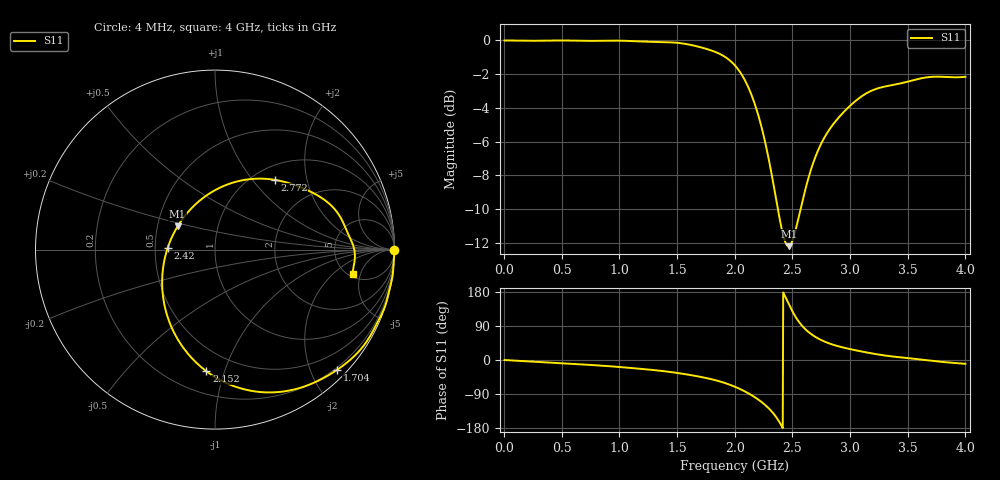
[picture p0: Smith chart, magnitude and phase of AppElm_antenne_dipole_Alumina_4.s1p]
! TOUCHSTONE file generated by CST MICROWAVE STUDIO
! Date and time: Sat May 14 10:20:41 2022
! Project name: AppElm_antenne_dipole_Alumina.cst
! Parameters = {L=33; e=0.035; f=2.45e+09; h=1.6; i=0.8; l1=1.8; lambda=122.449; ls=30; wl=1.7; ws=80}
! Header version: 2018
! Port assignment regex: !\s*Touchstone port\s*([0-9]+)\s*=\s*(CST MWS port|CST DS port)\s*([0-9]+|Zmin|Zmax)\s*\(\"(.*)\"\)(\s*mode\s*([0-9]+))?.*
! Touchstone port assignment:
! Touchstone port 1 = CST MWS port 1 ("")
# GHz S MA R 50
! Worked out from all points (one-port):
!   1000 points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, 4 MHz to 4 GHz, reference 50 ohm
!   lowest |S11| = -12.2 dB at 2.468 GHz (marker M1), VSWR 1.65, Z = 31.8 + j8.77 ohm
!   |S11| at or under -10 dB: 2.374 GHz to 2.571 GHz (197.2 MHz wide, 7.98 % of centre)
!   S11 on the Smith chart (normalised r, x): 4 MHz: open; 1.704 GHz: 0.16, -2.43; 2.152 GHz: 0.35, -0.87; 2.42 GHz: 0.58, +0.01; 2.772 GHz: 1.24, +1.30; 4 GHz: 5.40, -3.77
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0.004  1 -0.1
0.504  1 -8.4
1.004  0.9985 -18.6
1.32  0.9902 -27.3
1.504  0.9838 -34.3
1.704  0.9545 -44.6
1.864  0.9142 -56.0
1.932  0.886 -62.5
2.004  0.8412 -70.9
2.08  0.7709 -81.7
2.152  0.6798 -94.0
2.228  0.5603 -109.9
2.296  0.4421 -128.0
2.356  0.3421 -149.4
2.42  0.2642 178.2
2.468  0.2453 148.1
2.504  0.257 126.3
2.564  0.3089 97.6
2.624  0.3746 77.9
2.692  0.4445 62.3
2.772  0.5113 49.5
2.872  0.5747 38.5
3.004  0.6419 28.5
3.116  0.6883 21.5
3.216  0.7162 15.9
3.504  0.7554 4.9
3.7  0.7795 -1.8
4  0.7799 -10.1
